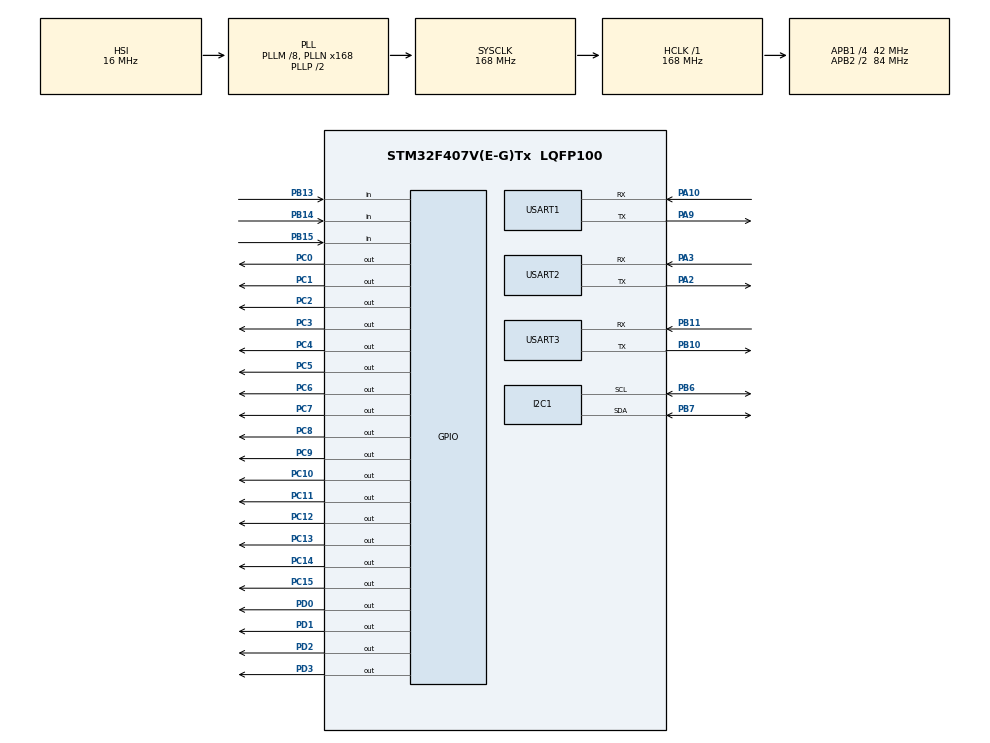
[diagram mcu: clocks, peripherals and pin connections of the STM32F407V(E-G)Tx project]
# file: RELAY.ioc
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Mcu.Family=STM32F4
Mcu.Name=STM32F407V(E-G)Tx
Mcu.Package=LQFP100
NVIC.PriorityGroup=NVIC_PRIORITYGROUP_4
NVIC.USART1_IRQn=true\:0\:0\:false\:false\:true\:true\:true\:true
NVIC.USART2_IRQn=true\:0\:0\:false\:false\:true\:true\:true\:true
NVIC.USART3_IRQn=true\:0\:0\:false\:false\:true\:true\:true\:true
PA10.Mode=Asynchronous
PA10.Signal=USART1_RX
PA13.Mode=Serial_Wire
PA13.Signal=SYS_JTMS-SWDIO
PA14.Mode=Serial_Wire
PA14.Signal=SYS_JTCK-SWCLK
PA2.Mode=Asynchronous
PA2.Signal=USART2_TX
PA3.Mode=Asynchronous
PA3.Signal=USART2_RX
PA9.Mode=Asynchronous
PA9.Signal=USART1_TX
PB10.Mode=Asynchronous
PB10.Signal=USART3_TX
PB11.Mode=Asynchronous
PB11.Signal=USART3_RX
PB13.Signal=GPIO_Input
PB14.Signal=GPIO_Input
PB15.Signal=GPIO_Input
PB6.Mode=I2C
PB6.Signal=I2C1_SCL
PB7.Mode=I2C
PB7.Signal=I2C1_SDA
PC0.Signal=GPIO_Output
PC1.Signal=GPIO_Output
PC10.Signal=GPIO_Output
PC11.Signal=GPIO_Output
PC12.Signal=GPIO_Output
PC13-ANTI_TAMP.Signal=GPIO_Output
PC14-OSC32_IN.Signal=GPIO_Output
PC15-OSC32_OUT.Signal=GPIO_Output
PC2.Signal=GPIO_Output
PC3.Signal=GPIO_Output
PC4.Signal=GPIO_Output
PC5.Signal=GPIO_Output
PC6.Signal=GPIO_Output
PC7.Signal=GPIO_Output
PC8.Signal=GPIO_Output
PC9.Signal=GPIO_Output
PD0.Signal=GPIO_Output
PD1.Signal=GPIO_Output
PD2.Signal=GPIO_Output
PD3.Signal=GPIO_Output
ProjectManager.HeapSize=0x200
ProjectManager.StackSize=0x400
ProjectManager.TargetToolchain=STM32CubeIDE
RCC.48MHZClocksFreq_Value=84000000
RCC.AHBFreq_Value=168000000
RCC.APB1CLKDivider=RCC_HCLK_DIV4
RCC.APB1Freq_Value=42000000
RCC.APB1TimFreq_Value=84000000
RCC.APB2CLKDivider=RCC_HCLK_DIV2
RCC.APB2Freq_Value=84000000
RCC.APB2TimFreq_Value=168000000
RCC.CortexFreq_Value=168000000
RCC.HCLKFreq_Value=168000000
RCC.HSE_VALUE=25000000
RCC.HSI_VALUE=16000000
RCC.LSE_VALUE=32768
RCC.PLLM=8
RCC.PLLN=168
RCC.SYSCLKFreq_VALUE=168000000
RCC.SYSCLKSource=RCC_SYSCLKSOURCE_PLLCLK
RCC.VCOOutputFreq_Value=336000000
USART1.VirtualMode=VM_ASYNC
USART2.VirtualMode=VM_ASYNC
USART3.VirtualMode=VM_ASYNC
board=custom

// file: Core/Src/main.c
/* USER CODE BEGIN Header */
/**
  ******************************************************************************
  * @file           : main.c
  * @brief          : Main program body
  ******************************************************************************
  * @attention
  *
  * Copyright (c) 2026 STMicroelectronics.
  * All rights reserved.
  *
  * This software is licensed under terms that can be found in the LICENSE file
  * in the root directory of this software component.
  * If no LICENSE file comes with this software, it is provided AS-IS.
  *
  ******************************************************************************
  */
/* USER CODE END Header */
#include "main.h"

/* USER CODE BEGIN Includes */
#include "relay.h"
#include "raspi.h"
#include "DI.h"
/* USER CODE END Includes */

I2C_HandleTypeDef hi2c1;

UART_HandleTypeDef huart1;
UART_HandleTypeDef huart2;
UART_HandleTypeDef huart3;

void SystemClock_Config(void);
static void MX_GPIO_Init(void);
static void MX_USART1_UART_Init(void);
static void MX_USART2_UART_Init(void);
static void MX_USART3_UART_Init(void);
static void MX_I2C1_Init(void);

int main(void)
{

  /* MCU Configuration--------------------------------------------------------*/

  /* Reset of all peripherals, Initializes the Flash interface and the Systick. */
  HAL_Init();

  /* USER CODE BEGIN Init */
  // === CRITICAL TEST - LED BLINK BEFORE EVERYTHING ===
  // Enable clock for GPIOC
  __HAL_RCC_GPIOC_CLK_ENABLE();

  // Configure PC13 as output
  GPIO_InitTypeDef GPIO_InitStruct = {0};
  GPIO_InitStruct.Pin = GPIO_PIN_13;
  GPIO_InitStruct.Mode = GPIO_MODE_OUTPUT_PP;
  GPIO_InitStruct.Pull = GPIO_NOPULL;
  GPIO_InitStruct.Speed = GPIO_SPEED_FREQ_LOW;
  HAL_GPIO_Init(GPIOC, &GPIO_InitStruct);

  // Blink PC13 20x VERY SLOW to confirm HAL_Init works
  for(int i=0; i<20; i++) {
      HAL_GPIO_TogglePin(GPIOC, GPIO_PIN_13);
      for(volatile int j=0; j<1000000; j++);  // Software delay
  }
  /* USER CODE END Init */

  /* Configure the system clock */
  SystemClock_Config();

  /* Initialize all configured peripherals */
  MX_GPIO_Init();
  MX_USART1_UART_Init();
  MX_USART2_UART_Init();
  MX_USART3_UART_Init();
  MX_I2C1_Init();
  /* USER CODE BEGIN 2 */

  Relay_GPIO_Init();

  // Reset UART state on init
  Reset_UART_State();

  Raspi_UART_Start();
  Rome_UART_Start();
  Nano_UART_Start();
  /* USER CODE END 2 */

  /* Infinite loop */
  /* USER CODE BEGIN WHILE */

  // TEST: Force UART2 transmission every 1 second
  static uint32_t last_test = 0;

  while (1)
  {
    /* USER CODE END WHILE */

    /* USER CODE BEGIN 3 */
	  Tx_Raspy();
	  Value_Discrete();
//	  Send_NANO(0xAA,0x01,0x04,0xD2);
//	  HAL_Delay(1000);
  }
  /* USER CODE END 3 */
}

void SystemClock_Config(void)
{
  RCC_OscInitTypeDef RCC_OscInitStruct = {0};
  RCC_ClkInitTypeDef RCC_ClkInitStruct = {0};

  /** Configure the main internal regulator output voltage
  */
  __HAL_RCC_PWR_CLK_ENABLE();
  __HAL_PWR_VOLTAGESCALING_CONFIG(PWR_REGULATOR_VOLTAGE_SCALE1);

  /** Initializes the RCC Oscillators according to the specified parameters
  * in the RCC_OscInitTypeDef structure.
  */
  RCC_OscInitStruct.OscillatorType = RCC_OSCILLATORTYPE_HSI;
  RCC_OscInitStruct.HSIState = RCC_HSI_ON;
  RCC_OscInitStruct.HSICalibrationValue = RCC_HSICALIBRATION_DEFAULT;
  RCC_OscInitStruct.PLL.PLLState = RCC_PLL_ON;
  RCC_OscInitStruct.PLL.PLLSource = RCC_PLLSOURCE_HSI;
  RCC_OscInitStruct.PLL.PLLM = 8;
  RCC_OscInitStruct.PLL.PLLN = 168;
  RCC_OscInitStruct.PLL.PLLP = RCC_PLLP_DIV2;
  RCC_OscInitStruct.PLL.PLLQ = 4;
  if (HAL_RCC_OscConfig(&RCC_OscInitStruct) != HAL_OK)
  {
    Error_Handler();
  }

  /** Initializes the CPU, AHB and APB buses clocks
  */
  RCC_ClkInitStruct.ClockType = RCC_CLOCKTYPE_HCLK|RCC_CLOCKTYPE_SYSCLK
                              |RCC_CLOCKTYPE_PCLK1|RCC_CLOCKTYPE_PCLK2;
  RCC_ClkInitStruct.SYSCLKSource = RCC_SYSCLKSOURCE_PLLCLK;
  RCC_ClkInitStruct.AHBCLKDivider = RCC_SYSCLK_DIV1;
  RCC_ClkInitStruct.APB1CLKDivider = RCC_HCLK_DIV4;
  RCC_ClkInitStruct.APB2CLKDivider = RCC_HCLK_DIV2;

  if (HAL_RCC_ClockConfig(&RCC_ClkInitStruct, FLASH_LATENCY_5) != HAL_OK)
  {
    Error_Handler();
  }
}

static void MX_I2C1_Init(void)
{

  hi2c1.Instance = I2C1;
  hi2c1.Init.ClockSpeed = 100000;
  hi2c1.Init.DutyCycle = I2C_DUTYCYCLE_2;
  hi2c1.Init.OwnAddress1 = 0;
  hi2c1.Init.AddressingMode = I2C_ADDRESSINGMODE_7BIT;
  hi2c1.Init.DualAddressMode = I2C_DUALADDRESS_DISABLE;
  hi2c1.Init.OwnAddress2 = 0;
  hi2c1.Init.GeneralCallMode = I2C_GENERALCALL_DISABLE;
  hi2c1.Init.NoStretchMode = I2C_NOSTRETCH_DISABLE;
  if (HAL_I2C_Init(&hi2c1) != HAL_OK)
  {
    Error_Handler();
  }

}

static void MX_USART1_UART_Init(void)
{

  huart1.Instance = USART1;
  huart1.Init.BaudRate = 115200;
  huart1.Init.WordLength = UART_WORDLENGTH_8B;
  huart1.Init.StopBits = UART_STOPBITS_1;
  huart1.Init.Parity = UART_PARITY_NONE;
  huart1.Init.Mode = UART_MODE_TX_RX;
  huart1.Init.HwFlowCtl = UART_HWCONTROL_NONE;
  huart1.Init.OverSampling = UART_OVERSAMPLING_16;
  if (HAL_UART_Init(&huart1) != HAL_OK)
  {
    Error_Handler();
  }

}

static void MX_USART2_UART_Init(void)
{

  huart2.Instance = USART2;
  huart2.Init.BaudRate = 115200;
  huart2.Init.WordLength = UART_WORDLENGTH_8B;
  huart2.Init.StopBits = UART_STOPBITS_1;
  huart2.Init.Parity = UART_PARITY_NONE;
  huart2.Init.Mode = UART_MODE_TX_RX;
  huart2.Init.HwFlowCtl = UART_HWCONTROL_NONE;
  huart2.Init.OverSampling = UART_OVERSAMPLING_16;
  if (HAL_UART_Init(&huart2) != HAL_OK)
  {
    Error_Handler();
  }

}

static void MX_USART3_UART_Init(void)
{

  huart3.Instance = USART3;
  huart3.Init.BaudRate = 115200;
  huart3.Init.WordLength = UART_WORDLENGTH_8B;
  huart3.Init.StopBits = UART_STOPBITS_1;
  huart3.Init.Parity = UART_PARITY_NONE;
  huart3.Init.Mode = UART_MODE_TX_RX;
  huart3.Init.HwFlowCtl = UART_HWCONTROL_NONE;
  huart3.Init.OverSampling = UART_OVERSAMPLING_16;
  if (HAL_UART_Init(&huart3) != HAL_OK)
  {
    Error_Handler();
  }

}

static void MX_GPIO_Init(void)
{
  GPIO_InitTypeDef GPIO_InitStruct = {0};

  /* GPIO Ports Clock Enable */
  __HAL_RCC_GPIOC_CLK_ENABLE();
  __HAL_RCC_GPIOA_CLK_ENABLE();
  __HAL_RCC_GPIOB_CLK_ENABLE();
  __HAL_RCC_GPIOD_CLK_ENABLE();

  /*Configure GPIO pin Output Level */
  HAL_GPIO_WritePin(GPIOC, GPIO_PIN_13|GPIO_PIN_14|GPIO_PIN_15|GPIO_PIN_0
                          |GPIO_PIN_1|GPIO_PIN_2|GPIO_PIN_3|GPIO_PIN_4
                          |GPIO_PIN_5|GPIO_PIN_6|GPIO_PIN_7|GPIO_PIN_8
                          |GPIO_PIN_9|GPIO_PIN_10|GPIO_PIN_11|GPIO_PIN_12, GPIO_PIN_RESET);

  /*Configure GPIO pin Output Level */
  HAL_GPIO_WritePin(GPIOD, GPIO_PIN_0|GPIO_PIN_1|GPIO_PIN_2|GPIO_PIN_3, GPIO_PIN_RESET);

  /*Configure GPIO pins : PC13 PC14 PC15 PC0
                           PC1 PC2 PC3 PC4
                           PC5 PC6 PC7 PC8
                           PC9 PC10 PC11 PC12 */
  GPIO_InitStruct.Pin = GPIO_PIN_13|GPIO_PIN_14|GPIO_PIN_15|GPIO_PIN_0
                          |GPIO_PIN_1|GPIO_PIN_2|GPIO_PIN_3|GPIO_PIN_4
                          |GPIO_PIN_5|GPIO_PIN_6|GPIO_PIN_7|GPIO_PIN_8
                          |GPIO_PIN_9|GPIO_PIN_10|GPIO_PIN_11|GPIO_PIN_12;
  GPIO_InitStruct.Mode = GPIO_MODE_OUTPUT_PP;
  GPIO_InitStruct.Pull = GPIO_NOPULL;
  GPIO_InitStruct.Speed = GPIO_SPEED_FREQ_LOW;
  HAL_GPIO_Init(GPIOC, &GPIO_InitStruct);

  /*Configure GPIO pins : PB13 PB14 PB15 */
  GPIO_InitStruct.Pin = GPIO_PIN_13|GPIO_PIN_14|GPIO_PIN_15;
  GPIO_InitStruct.Mode = GPIO_MODE_INPUT;
  GPIO_InitStruct.Pull = GPIO_PULLDOWN;
  HAL_GPIO_Init(GPIOB, &GPIO_InitStruct);

  /*Configure GPIO pins : PD0 PD1 PD2 PD3 */
  GPIO_InitStruct.Pin = GPIO_PIN_0|GPIO_PIN_1|GPIO_PIN_2|GPIO_PIN_3;
  GPIO_InitStruct.Mode = GPIO_MODE_OUTPUT_PP;
  GPIO_InitStruct.Pull = GPIO_NOPULL;
  GPIO_InitStruct.Speed = GPIO_SPEED_FREQ_LOW;
  HAL_GPIO_Init(GPIOD, &GPIO_InitStruct);

  /* USER CODE BEGIN MX_GPIO_Init_2 */
  GPIO_InitStruct.Pin = GPIO_PIN_2 | GPIO_PIN_3;
  GPIO_InitStruct.Mode = GPIO_MODE_AF_PP;
  GPIO_InitStruct.Pull = GPIO_NOPULL;
  GPIO_InitStruct.Speed = GPIO_SPEED_FREQ_VERY_HIGH;
  GPIO_InitStruct.Alternate = GPIO_AF7_USART2;
  HAL_GPIO_Init(GPIOA, &GPIO_InitStruct);
  /* USER CODE END MX_GPIO_Init_2 */
}

void Error_Handler(void)
{
  __disable_irq();
  while (1)
  {
  }
}
